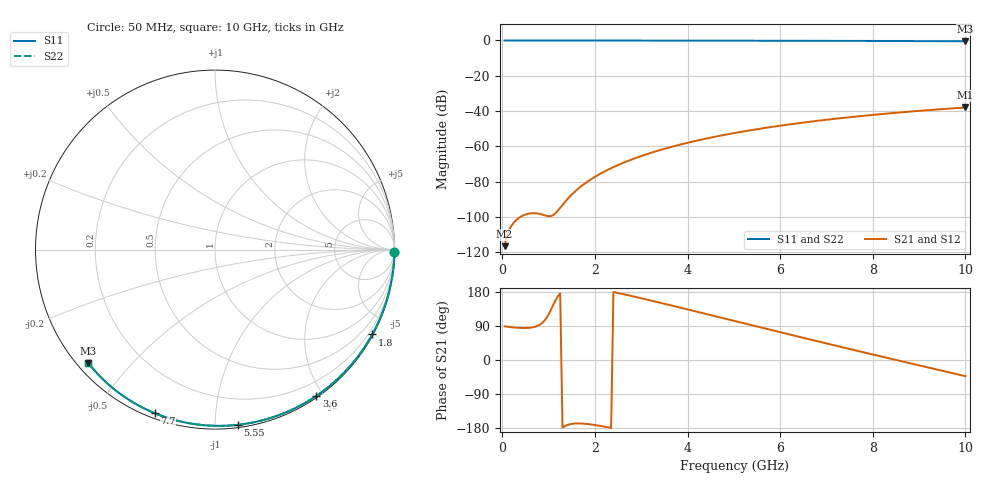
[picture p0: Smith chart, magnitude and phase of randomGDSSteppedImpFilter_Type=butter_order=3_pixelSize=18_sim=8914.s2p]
! freq	dB(S11)	phase(S11)	dB(S12)	phase(S12)
!  dB(S21)	phase(S21)	dB(S22)	phase(S22)
!S-par simulation data
#  GHz  S  DB  R 50
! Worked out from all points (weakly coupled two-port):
!   200 points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, 50 MHz to 10 GHz, reference 50 ohm
!   highest |S21| = -37.97 dB at 10 GHz (marker M1); lowest = -116.6 dB at 50 MHz (marker M2)
!   lowest |S11| = -0.5 dB at 10 GHz (marker M3), VSWR 37.22, Z = 1.54 - j19.1 ohm
!   |S11| at or under -10 dB: nowhere
!   |S22| runs from -0.5 to 0.0 dB; largest |S21 - S12| = 0
!   S11 on the Smith chart (normalised r, x): 50 MHz: open; 1.8 GHz: 0.03, -3.96; 3.6 GHz: 0.02, -1.91; 5.55 GHz: 0.02, -1.14; 7.7 GHz: 0.02, -0.70; 10 GHz: 0.03, -0.38
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0.05  -0.00 -0.8  -116.58 89.0  -116.58 89.0  -0.00 -0.8
0.45  -0.01 -7.2  -99.17 84.4  -99.17 84.4  -0.01 -7.2
0.9  -0.02 -14.3  -98.98 102.3  -98.98 102.3  -0.02 -14.3
1.75  -0.04 -27.6  -81.69 -167.9  -81.69 -167.9  -0.04 -27.6
1.8  -0.04 -28.3  -80.73 -168.4  -80.73 -168.4  -0.04 -28.3
1.85  -0.04 -29.1  -79.82 -169.1  -79.82 -169.1  -0.04 -29.1
2  -0.04 -31.4  -77.30 -171.5  -77.30 -171.5  -0.04 -31.4
2.15  -0.04 -33.7  -75.05 -174.6  -75.05 -174.6  -0.04 -33.7
2.35  -0.05 -36.7  -72.38 -179.4  -72.38 -179.4  -0.05 -36.7
2.55  -0.05 -39.8  -70.02 175.5  -70.02 175.5  -0.05 -39.8
2.95  -0.06 -45.8  -65.96 164.4  -65.96 164.4  -0.06 -45.8
3.4  -0.07 -52.4  -62.16 151.4  -62.16 151.4  -0.07 -52.4
3.6  -0.07 -55.3  -60.67 145.5  -60.67 145.5  -0.07 -55.3
4.3  -0.09 -65.3  -56.18 124.5  -56.18 124.5  -0.09 -65.3
5.05  -0.12 -75.8  -52.28 101.9  -52.28 101.9  -0.12 -75.8
5.55  -0.14 -82.5  -50.08 86.9  -50.08 86.9  -0.14 -82.5
6.1  -0.16 -89.8  -47.93 70.4  -47.93 70.4  -0.16 -89.8
6.7  -0.19 -97.6  -45.87 52.6  -45.87 52.6  -0.19 -97.6
7.7  -0.25 -110.2  -42.95 23.2  -42.95 23.2  -0.25 -110.2
8.35  -0.30 -118.2  -41.33 4.4  -41.33 4.4  -0.30 -118.2
9.2  -0.38 -128.5  -39.47 -19.9  -39.47 -19.9  -0.38 -128.5
10  -0.47 -138.1  -37.97 -42.6  -37.97 -42.6  -0.47 -138.1
